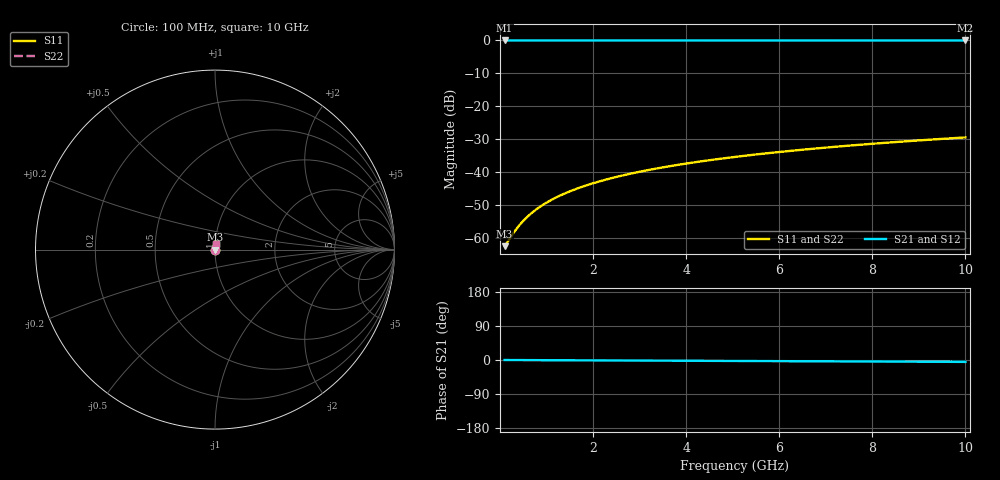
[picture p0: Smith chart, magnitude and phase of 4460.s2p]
# Hz S RI R 50.00
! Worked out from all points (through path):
!   100 points, 100 MHz to 10 GHz, reference 50 ohm
!   highest |S21| = -0.01 dB at 100 MHz (marker M1); lowest = 0.0 dB at 10 GHz (marker M2)
!   lowest |S11| = -62.5 dB at 100 MHz (marker M3), VSWR 1.00, Z = 50.1 + j0.0336 ohm
!   |S11| at or under -10 dB: start of sweep to end of sweep
!   |S22| runs from -62.5 to -29.5 dB; largest |S21 - S12| = 0
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1e8  0.000669 0.000335  0.9993 -0.000873  0.9993 -0.000873  0.000669 0.000335
3e8  0.000678 0.00101  0.9993 -0.00262  0.9993 -0.00262  0.000678 0.00101
4e8  0.000683 0.00134  0.9993 -0.00349  0.9993 -0.00349  0.000683 0.00134
5e8  0.000687 0.00168  0.9993 -0.00436  0.9993 -0.00436  0.000687 0.00168
6e8  0.000692 0.00201  0.9993 -0.00524  0.9993 -0.00524  0.000692 0.00201
7e8  0.000698 0.00235  0.9993 -0.00611  0.9993 -0.00611  0.000698 0.00235
8e8  0.000704 0.00268  0.9993 -0.00698  0.9993 -0.00698  0.000704 0.00268
1e9  0.000717 0.00335  0.9993 -0.00873  0.9993 -0.00873  0.000717 0.00335
1.2e9  0.000732 0.00402  0.9992 -0.0105  0.9992 -0.0105  0.000732 0.00402
1.5e9  0.000759 0.00503  0.9992 -0.0131  0.9992 -0.0131  0.000759 0.00503
1.8e9  0.00079 0.00604  0.9992 -0.0157  0.9992 -0.0157  0.00079 0.00604
2.1e9  0.000827 0.00704  0.9991 -0.0183  0.9991 -0.0183  0.000827 0.00704
2.5e9  0.000883 0.00838  0.999 -0.0218  0.999 -0.0218  0.000883 0.00838
2.9e9  0.000949 0.00972  0.9989 -0.0253  0.9989 -0.0253  0.000949 0.00972
3.4e9  0.00104 0.0114  0.9988 -0.0297  0.9988 -0.0297  0.00104 0.0114
4.2e9  0.00123 0.0141  0.9985 -0.0367  0.9985 -0.0367  0.00123 0.0141
5.1e9  0.00148 0.0171  0.9981 -0.0445  0.9981 -0.0445  0.00148 0.0171
5.9e9  0.00174 0.0198  0.9977 -0.0515  0.9977 -0.0515  0.00174 0.0198
6.7e9  0.00204 0.0224  0.9973 -0.0585  0.9973 -0.0585  0.00204 0.0224
7.5e9  0.00238 0.0251  0.9968 -0.0655  0.9968 -0.0655  0.00238 0.0251
8.4e9  0.0028 0.0281  0.9961 -0.0734  0.9961 -0.0734  0.0028 0.0281
1e10  0.00367 0.0334  0.9948 -0.0874  0.9948 -0.0874  0.00367 0.0334
